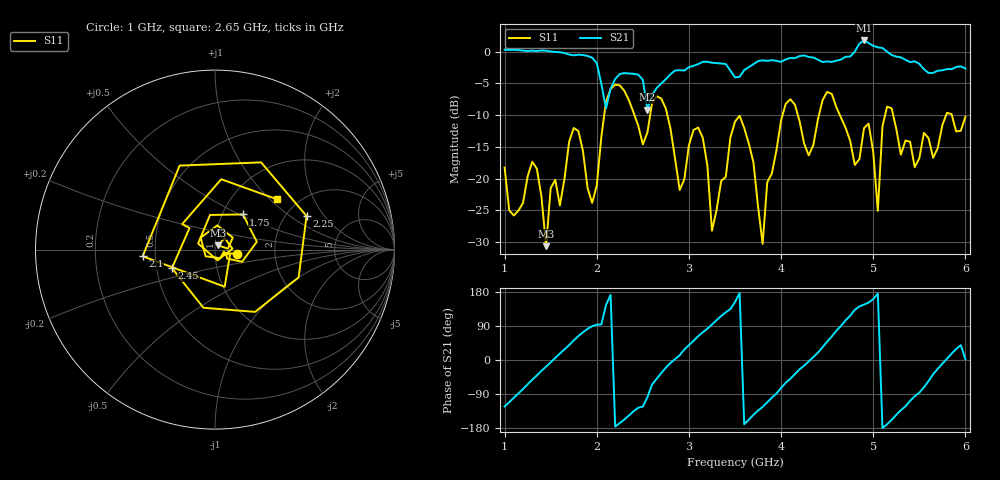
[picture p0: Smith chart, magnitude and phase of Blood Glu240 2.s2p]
! NanoVNA-App
! Date: 2024-03-21 17:10:47
! Start: 1GHz Stop: 6GHz Points: 101
! S-Parameter data: F S11 S21 S12 S22
# Hz S RI R 50
!	Frequency	S11_Real	S11_Imag	S21_Real	S21_Imag	S12_Real	S12_Imag	S22_Real	S22_Imag
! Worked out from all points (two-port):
!   101 points, 1 GHz to 6 GHz, reference 50 ohm
!   highest |S21| = 1.78 dB at 4.9 GHz (marker M1); lowest = -9.1 dB at 2.55 GHz (marker M2)
!   |S21| within 3 dB of the highest: start of sweep to 1.966 GHz; 4.651 GHz to 5.343 GHz (692.1 MHz wide, 13.8 % of centre)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
!   lowest |S11| = -30.7 dB at 1.45 GHz (marker M3), VSWR 1.06, Z = 51.7 + j2.45 ohm
!   |S11| at or under -10 dB: start of sweep to 2.081 GHz; 2.766 GHz to 4.016 GHz (1.25 GHz wide, 36.8 % of centre); 5.217 GHz to 5.791 GHz (573.9 MHz wide, 10.4 % of centre)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
!   S12 and S22 are empty: the file has one direction only
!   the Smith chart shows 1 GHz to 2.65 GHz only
!   S11 on the Smith chart (normalised r, x): 1 GHz: 1.27, -0.06; 1.75 GHz: 1.25, +0.52; 2.1 GHz: 0.42, -0.04; 2.25 GHz: 2.56, +1.36; 2.45 GHz: 0.60, -0.13; 2.65 GHz: 1.59, +1.11
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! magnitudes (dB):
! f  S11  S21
! 1 GHz  -18.3  0.3
! 1.45 GHz  -30.7  0.2
! 1.75 GHz  -12.0  -0.6
! 1.85 GHz  -15.6  -0.5
! 1.95 GHz  -23.8  -0.9
! 2.1 GHz  -7.9  -9.0
! 2.25 GHz  -5.3  -3.5
! 2.45 GHz  -11.7  -3.6
! 2.55 GHz  -12.7  -9.1
! 2.65 GHz  -7.0  -5.7
! 2.7 GHz  -7.4  -5.0
! 2.9 GHz  -21.8  -2.9
! 3.15 GHz  -13.5  -1.6
! 3.25 GHz  -28.2  -1.7
! 3.5 GHz  -11.0  -4.1
! 3.8 GHz  -30.3  -1.4
! 4.05 GHz  -8.2  -1.2
! 4.35 GHz  -14.7  -0.9
! 4.9 GHz  -12.0  1.8
! 5.05 GHz  -25.1  0.7
! 5.2 GHz  -8.9  -0.5
! 6 GHz  -10.3  -2.6
